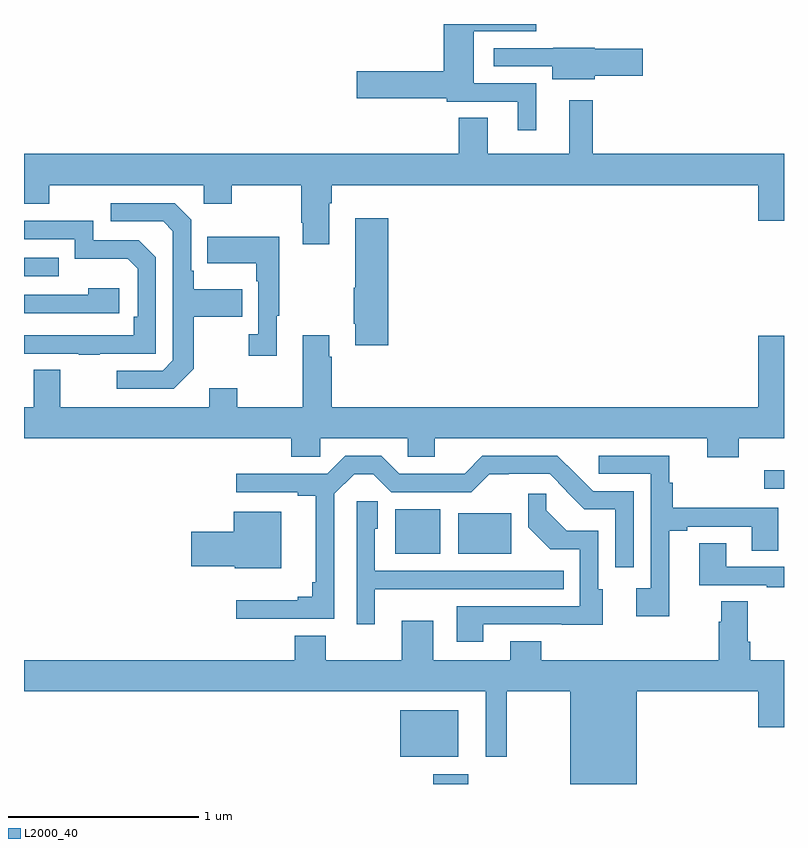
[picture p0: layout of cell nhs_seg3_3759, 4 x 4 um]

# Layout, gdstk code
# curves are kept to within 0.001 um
import gdstk
lib = gdstk.Library(unit=1e-6, precision=1e-09)
def R(c, l, rs):  # rectangles x0, y0, x1, y1
    for r in rs: c.add(gdstk.rectangle(r[:2], r[2:], *l))
def P(c, l, *ps):  # polygons
    for p in ps: c.add(gdstk.Polygon(p, *l))
L2000_40 = (2000, 40)

nhs_seg3_3759 = lib.new_cell('nhs_seg3_3759')
R(nhs_seg3_3759, L2000_40, [(307.155,728.4,307.339,728.452), (306.98,728.543,307.285,728.788), (306.953,729.611,307.192,729.847), (307.286,729.611,307.564,729.826), (308.895,729.954,309,730.051), (305,731.073,305.183,731.169)])
P(nhs_seg3_3759, L2000_40, [(307.696,732.087),(307.366,732.087),(307.366,732.362),(307.696,732.362),(307.696,732.4),(307.208,732.4),(307.208,732.152),(306.75,732.152),(306.75,732.01),(307.224,732.01),(307.224,731.991),(307.598,731.991),(307.598,731.841),(307.696,731.841)],
  [(308.004,732.127),(308.257,732.127),(308.257,732.269),(308.004,732.269),(308.004,732.274),(307.785,732.274),(307.785,732.273),(307.473,732.273),(307.473,732.177),(307.781,732.177),(307.781,732.11),(308.004,732.11)],
  [(306.607,731.456),(306.62,731.456),(306.62,731.552),(308.864,731.552),(308.864,731.364),(309,731.364),(309,731.716),(307.993,731.716),(307.993,731.998),(307.871,731.998),(307.871,731.716),(307.441,731.716),(307.441,731.906),(307.289,731.906),(307.289,731.716),(305,731.716),(305,731.453),(305.133,731.453),(305.133,731.552),(305.946,731.552),(305.946,731.453),(306.093,731.453),(306.093,731.552),(306.46,731.552),(306.46,731.353),(306.467,731.353),(306.467,731.241),(306.607,731.241)],
  [(305.893,730.585),(305.893,730.858),(306.149,730.858),(306.149,731.005),(305.893,731.005),(305.893,731.101),(305.88,731.101),(305.88,731.37),(305.793,731.457),(305.457,731.457),(305.457,731.361),(305.733,731.361),(305.784,731.31),(305.784,730.629),(305.73,730.575),(305.487,730.575),(305.487,730.479),(305.787,730.479)],
  [(306.916,731.377),(306.743,731.377),(306.743,731.011),(306.736,731.011),(306.736,730.822),(306.743,730.822),(306.743,730.71),(306.916,730.71)],
  [(305.399,730.665),(305.694,730.665),(305.694,731.172),(305.604,731.262),(305.364,731.262),(305.364,731.364),(305,731.364),(305,731.268),(305.268,731.268),(305.268,731.165),(305.545,731.165),(305.598,731.112),(305.598,730.858),(305.578,730.858),(305.578,730.761),(305,730.761),(305,730.665),(305.287,730.665),(305.287,730.66),(305.399,730.66)],
  [(306.331,730.865),(306.343,730.865),(306.343,731.281),(305.965,731.281),(305.965,731.141),(306.222,731.141),(306.222,731.045),(306.234,731.045),(306.234,730.766),(306.183,730.766),(306.183,730.653),(306.331,730.653)],
  [(305.5,731.008),(305.339,731.008),(305.339,730.974),(305,730.974),(305,730.878),(305.5,730.878)],
  [(308.761,730.22),(309,730.22),(309,730.759),(308.864,730.759),(308.864,730.384),(306.62,730.384),(306.62,730.649),(306.607,730.649),(306.607,730.762),(306.467,730.762),(306.467,730.384),(306.123,730.384),(306.123,730.483),(305.975,730.483),(305.975,730.384),(305.191,730.384),(305.191,730.579),(305.051,730.579),(305.051,730.384),(305,730.384),(305,730.22),(306.407,730.22),(306.407,730.122),(306.558,730.122),(306.558,730.22),(307.02,730.22),(307.02,730.122),(307.162,730.122),(307.162,730.22),(308.597,730.22),(308.597,730.121),(308.761,730.121)],
  [(308.395,729.733),(308.491,729.733),(308.491,729.753),(308.831,729.753),(308.831,729.628),(308.971,729.628),(308.971,729.854),(308.414,729.854),(308.414,729.986),(308.396,729.986),(308.396,730.128),(308.025,730.128),(308.025,730.032),(308.298,730.032),(308.298,729.43),(308.223,729.43),(308.223,729.282),(308.395,729.282)],
  [(306.329,729.27),(306.633,729.27),(306.633,729.927),(306.737,730.031),(306.838,730.031),(306.933,729.936),(307.353,729.936),(307.448,730.031),(307.767,730.032),(307.857,729.942),(307.855,729.94),(307.949,729.846),(308.112,729.846),(308.112,729.54),(308.208,729.54),(308.208,729.942),(307.995,729.942),(307.807,730.128),(307.413,730.128),(307.319,730.034),(307.214,730.034),(307.214,730.032),(306.975,730.032),(306.879,730.128),(306.692,730.128),(306.596,730.032),(306.363,730.032),(306.363,730.034),(306.117,730.034),(306.117,729.936),(306.44,729.936),(306.44,729.916),(306.536,729.916),(306.536,729.463),(306.517,729.463),(306.517,729.386),(306.44,729.386),(306.44,729.367),(306.117,729.367),(306.117,729.269)],
  [(307.417,729.24),(308.047,729.239),(308.047,729.426),(308.022,729.426),(308.022,729.732),(307.856,729.732),(307.748,729.84),(307.748,729.928),(307.653,729.928),(307.653,729.752),(307.769,729.636),(307.926,729.636),(307.926,729.336),(307.277,729.336),(307.277,729.15),(307.417,729.15)],
  [(306.847,729.425),(307.181,729.425),(307.181,729.426),(307.841,729.426),(307.841,729.522),(306.846,729.522),(306.846,729.744),(306.862,729.744),(306.862,729.887),(306.75,729.887),(306.75,729.24),(306.847,729.24)],
  [(306.355,729.832),(306.104,729.832),(306.104,729.728),(305.88,729.728),(305.88,729.545),(306.108,729.545),(306.108,729.536),(306.355,729.536)],
  [(309,729.543),(308.695,729.543),(308.695,729.668),(308.555,729.668),(308.555,729.447),(308.909,729.447),(308.909,729.435),(309,729.435)],
  [(308.224,728.888),(308.864,728.888),(308.864,728.7),(309,728.7),(309,729.052),(308.822,729.052),(308.822,729.148),(308.809,729.148),(308.809,729.362),(308.669,729.362),(308.669,729.254),(308.657,729.254),(308.657,729.052),(307.723,729.052),(307.723,729.151),(307.559,729.151),(307.559,729.052),(307.153,729.052),(307.153,729.259),(306.989,729.259),(306.989,729.052),(306.589,729.052),(306.589,729.181),(306.425,729.181),(306.425,729.052),(305,729.052),(305,728.888),(307.43,728.888),(307.43,728.544),(307.54,728.544),(307.54,728.888),(307.874,728.888),(307.874,728.4),(308.224,728.4)])

lib.write_gds('nhs_seg3_3759.gds')
